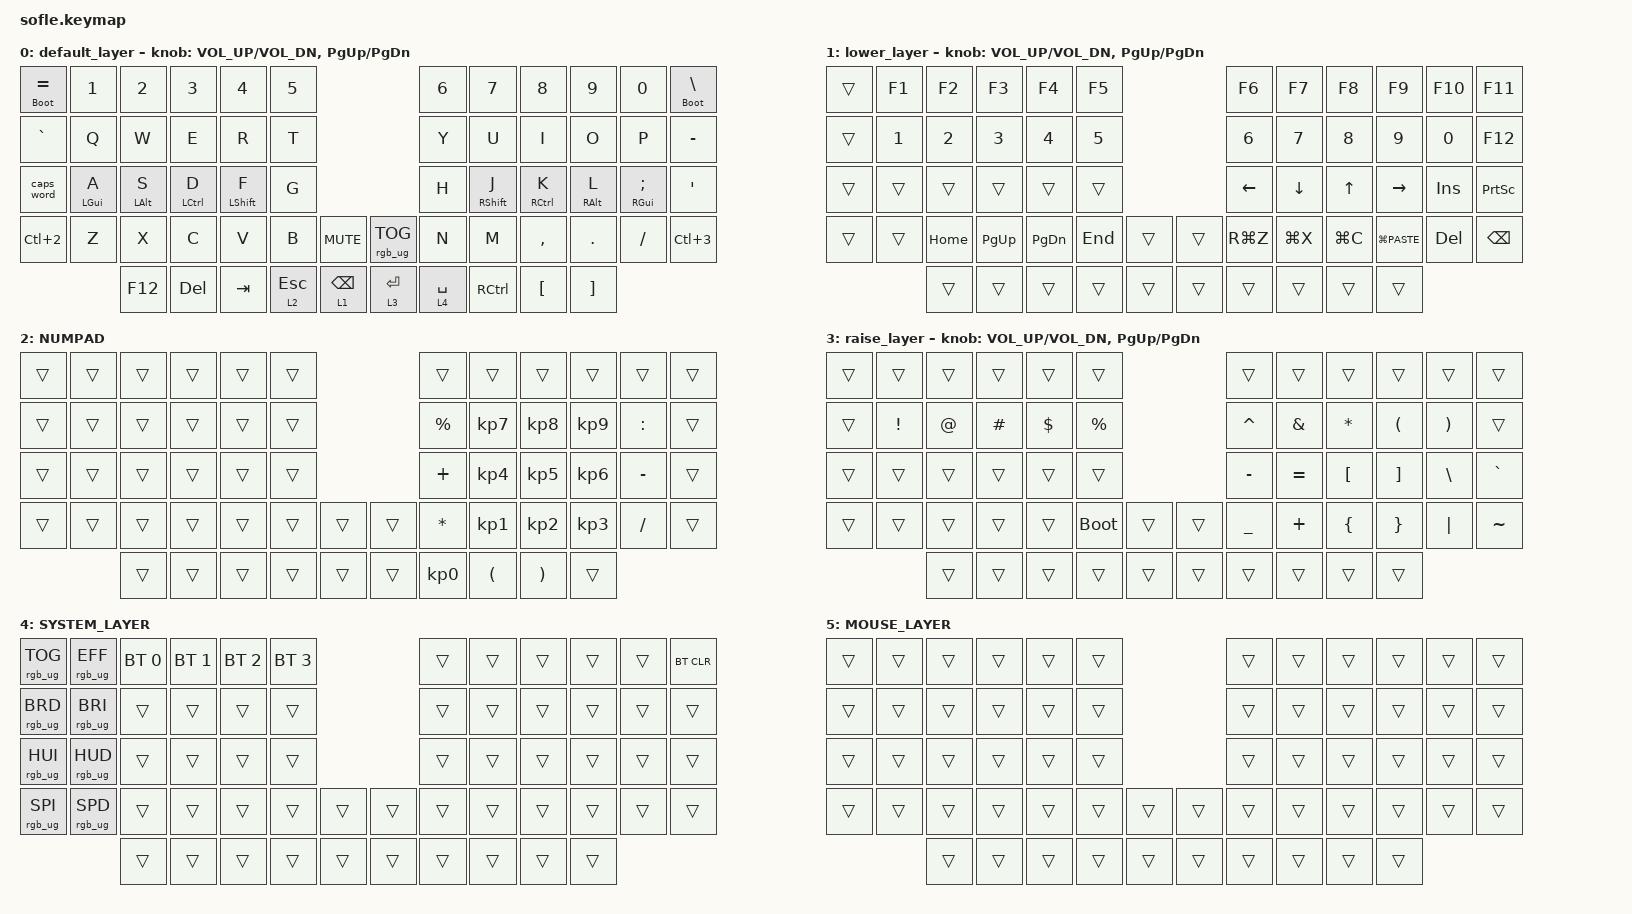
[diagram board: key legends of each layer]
/*
 * Copyright (c) 2020 The ZMK Contributors
 *
 * SPDX-License-Identifier: MIT
 */

#include <behaviors.dtsi>
#include <dt-bindings/zmk/bt.h>
#include <dt-bindings/zmk/keys.h>
#include <dt-bindings/zmk/keys.h>
#include <dt-bindings/zmk/rgb.h>

&caps_word { continue-list = <UNDERSCORE MINUS>; };

&led_strip { chain-length = <35>; };

&left_encoder { resolution = <2>; };

/ {
    behaviors {
        hmr: hmr {
            compatible = "zmk,behavior-hold-tap";
            label = "HMR";
            bindings = <&kp>, <&kp>;

            #binding-cells = <2>;
            hold-trigger-key-positions = <0 1 2 3 4 5 12 13 14 15 16 17 24 25 26 27 28 29 36 37 38 39 40 41 42 50 51 52 53 54 55 56 57>;
            tapping-term-ms = <200>;
            quick-tap-ms = <175>;
            flavor = "balanced";
        };

        hml: hml {
            compatible = "zmk,behavior-hold-tap";
            label = "HML";
            bindings = <&kp>, <&kp>;

            #binding-cells = <2>;
            tapping-term-ms = <200>;
            quick-tap-ms = <175>;
            flavor = "balanced";
            hold-trigger-key-positions = <6 7 9 10 11 18 19 20 21 22 23 30 31 32 33 34 35 43 44 45 46 47 48 49 55 56 57 58 59 8 50 51 52 53 54>;
        };

        tapmod: tapmod {
            compatible = "zmk,behavior-hold-tap";
            label = "TAPMOD";
            bindings = <&mo>, <&kp>;

            #binding-cells = <2>;
            tapping-term-ms = <150>;
        };

        hold_reboot: hold_reboot {
            compatible = "zmk,behavior-hold-tap";
            label = "HOLD_REBOOT";
            bindings = <&bootloader>, <&kt>;

            #binding-cells = <2>;
            flavor = "tap-preferred";
            tapping-term-ms = <800>;
        };
    };

    keymap {
        compatible = "zmk,keymap";

        default_layer {
            // ------------------------------------------------------------------------------------------------------------
            // |  ESC  |  1  |  2  |  3   |  4   |  5   |                   |  6   |  7    |  8    |  9   |   0   | BKSPC |
            // |  TAB  |  Q  |  W  |  E   |  R   |  T   |                   |  Y   |  U    |  I    |  O   |   P   |  DEL  |
            // |  CAPS |  A  |  S  |  D   |  F   |  G   |                   |  H   |  J    |  K    |  L   |   ;   |   ' " |
            // | SHIFT |  Z  |  X  |  C   |  V   |  B   |  MUTE  |  |       |  N   |  M    |  ,<   |  .>  |   /?  | SHIFT |
            //               | GUI | ALT  | CTRL | LOWER|  ENTER |  | SPACE | RAISE| CTRL  | ALT   | GUI  |

            bindings = <
&hold_reboot 0 EQUAL  &kp N1           &kp N2           &kp N3        &kp N4             &kp N5                                                    &kp N6           &kp N7              &kp N8            &kp N9             &kp N0               &hold_reboot 0 BACKSLASH
&kp GRAVE             &kp Q            &kp W            &kp E         &kp R              &kp T                                                     &kp Y            &kp U               &kp I             &kp O              &kp P                &kp MINUS
&caps_word            &hml LEFT_GUI A  &hml LEFT_ALT S  &hml LCTRL D  &hml LEFT_SHIFT F  &kp G                                                     &kp H            &hmr RIGHT_SHIFT J  &hmr RCTRL K      &hmr RIGHT_ALT L   &hmr RIGHT_GUI SEMI  &kp SQT
&kp LC(NUMBER_2)      &kp Z            &kp X            &kp C         &kp V              &kp B             &kp C_MUTE             &rgb_ug RGB_TOG  &kp N            &kp M               &kp COMMA         &kp DOT            &kp FSLH             &kp LC(NUMBER_3)
                                       &kp F12          &kp DEL       &kp TAB            &tapmod 2 ESCAPE  &tapmod 1 BACKSPACE    &tapmod 3 ENTER  &tapmod 4 SPACE  &kp RCTRL           &kp LEFT_BRACKET  &kp RIGHT_BRACKET
            >;

            sensor-bindings = <&inc_dec_kp C_VOL_UP C_VOL_DN &inc_dec_kp PG_UP PG_DN>;
        };

        lower_layer {
            // TODO: Some binds are waiting for shifted keycode support.
            // ------------------------------------------------------------------------------------------------------------
            // |       |  F1 |  F2 |  F3  |  F4  |  F5  |                   |  F6  |  F7   |  F8   |   F9  |  F10  |     F11   |
            // | `     |   1 |   2 |   3  |   4  |   5  |                   |   6  |   7   |   8   |   9   |    0  |     F12   |
            // |       |BTCLR| BT1 | BT2  | BT3  | BT4  |                   | LEFT | DOWN  |  UP   | RIGHT |  INS  |PRINTSCREEN|
            // |       |     | HOME| PGUP | PGDN | END  |        |  |       | UNDO |  CUT  | COPY  | PASTE |  DEL  |    BKSP   |
            //               |     |      |      |      |        |  |       |      |       |       |       |

            bindings = <
&trans  &kp F1  &kp F2    &kp F3     &kp F4     &kp F5                     &kp F6     &kp F7     &kp F8     &kp F9           &kp F10  &kp F11
&trans  &kp N1  &kp N2    &kp N3     &kp N4     &kp N5                     &kp N6     &kp N7     &kp N8     &kp N9           &kp N0   &kp F12
&trans  &trans  &trans    &trans     &trans     &trans                     &kp LEFT   &kp DOWN   &kp UP     &kp RIGHT        &kp INS  &kp PSCRN
&trans  &trans  &kp HOME  &kp PG_UP  &kp PG_DN  &kp END  &trans    &trans  &kp RG(Z)  &kp LG(X)  &kp LG(C)  &kp LG(K_PASTE)  &kp DEL  &kp BSPC
                &trans    &trans     &trans     &trans   &trans    &trans  &trans     &trans     &trans     &trans
            >;

            sensor-bindings = <&inc_dec_kp C_VOL_UP C_VOL_DN &inc_dec_kp PG_UP PG_DN>;
        };

        NUMPAD {
            bindings = <
&trans  &trans  &trans  &trans  &trans  &trans                    &trans       &trans                &trans                 &trans           &trans     &trans
&trans  &trans  &trans  &trans  &trans  &trans                    &kp PERCENT  &kp KP_NUMBER_7       &kp KP_NUMBER_8        &kp KP_NUMBER_9  &kp COLON  &trans
&trans  &trans  &trans  &trans  &trans  &trans                    &kp PLUS     &kp KP_NUMBER_4       &kp KP_NUMBER_5        &kp KP_NUMBER_6  &kp MINUS  &trans
&trans  &trans  &trans  &trans  &trans  &trans  &trans    &trans  &kp ASTRK    &kp KP_NUMBER_1       &kp KP_NUMBER_2        &kp KP_NUMBER_3  &kp SLASH  &trans
                &trans  &trans  &trans  &trans  &trans    &trans  &kp KP_N0    &kp LEFT_PARENTHESIS  &kp RIGHT_PARENTHESIS  &trans
            >;
        };

        raise_layer {
            // ------------------------------------------------------------------------------------------------------------
            // |     |       |       |       |       |       |                |      |      |       |      |       |       |
            // |     |   !   |   @   |   #   |   $   |   %   |                |   ^  |  &   |   *   |   (  |   )   |       |
            // |     |RGB_TOG|RGB_HUI|RGB_SAI|RGB_BRI|       |                |   -  |   =  |   [   |   ]  |   \   | GRAVE |
            // |     |RGB_EFF|RGB_HUD|RGB_SAD|RGB_BRD|QK_BOOT|      |  |      |   _  |   +  |   {   |   }  |   |   |   ~   |
            //               |       |       |       |       |      |  |      |      |      |       |      |

            bindings = <
&trans  &trans    &trans  &trans    &trans    &trans                         &trans     &trans     &trans     &trans    &trans    &trans
&trans  &kp EXCL  &kp AT  &kp HASH  &kp DLLR  &kp PRCNT                      &kp CARET  &kp AMPS   &kp ASTRK  &kp LPAR  &kp RPAR  &trans
&trans  &trans    &trans  &trans    &trans    &trans                         &kp MINUS  &kp EQUAL  &kp LBKT   &kp RBKT  &kp BSLH  &kp GRAVE
&trans  &trans    &trans  &trans    &trans    &bootloader  &trans    &trans  &kp UNDER  &kp PLUS   &kp LBRC   &kp RBRC  &kp PIPE  &kp TILDE
                  &trans  &trans    &trans    &trans       &trans    &trans  &trans     &trans     &trans     &trans
            >;

            sensor-bindings = <&inc_dec_kp C_VOL_UP C_VOL_DN &inc_dec_kp PG_UP PG_DN>;
        };

        SYSTEM_LAYER {
            bindings = <
&rgb_ug RGB_TOG  &rgb_ug RGB_EFF  &bt BT_SEL 0  &bt BT_SEL 1  &bt BT_SEL 2  &bt BT_SEL 3                    &trans  &trans  &trans  &trans  &trans  &bt BT_CLR
&rgb_ug RGB_BRD  &rgb_ug RGB_BRI  &trans        &trans        &trans        &trans                          &trans  &trans  &trans  &trans  &trans  &trans
&rgb_ug RGB_HUI  &rgb_ug RGB_HUD  &trans        &trans        &trans        &trans                          &trans  &trans  &trans  &trans  &trans  &trans
&rgb_ug RGB_SPI  &rgb_ug RGB_SPD  &trans        &trans        &trans        &trans        &trans    &trans  &trans  &trans  &trans  &trans  &trans  &trans
                                  &trans        &trans        &trans        &trans        &trans    &trans  &trans  &trans  &trans  &trans
            >;
        };

        MOUSE_LAYER {
            bindings = <
&trans  &trans  &trans  &trans  &trans  &trans                    &trans  &trans  &trans  &trans  &trans  &trans
&trans  &trans  &trans  &trans  &trans  &trans                    &trans  &trans  &trans  &trans  &trans  &trans
&trans  &trans  &trans  &trans  &trans  &trans                    &trans  &trans  &trans  &trans  &trans  &trans
&trans  &trans  &trans  &trans  &trans  &trans  &trans    &trans  &trans  &trans  &trans  &trans  &trans  &trans
                &trans  &trans  &trans  &trans  &trans    &trans  &trans  &trans  &trans  &trans
            >;
        };
    };
};
